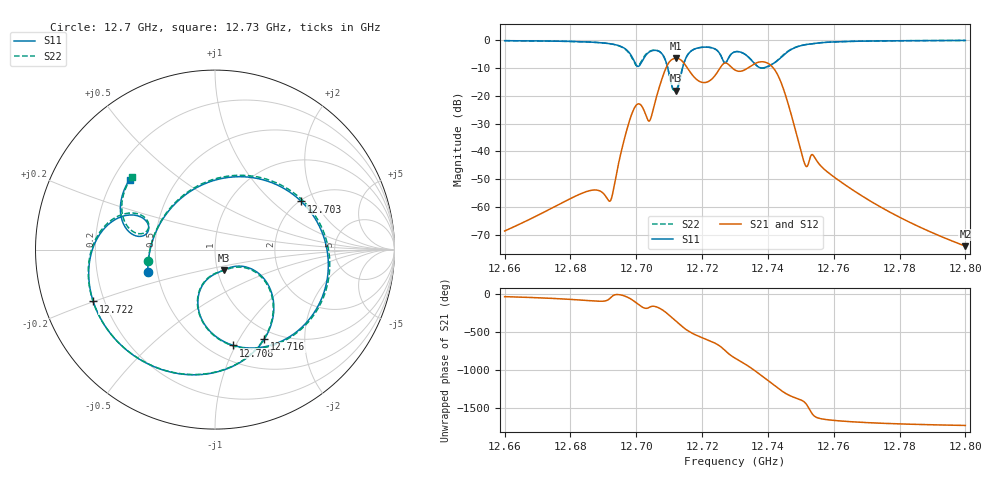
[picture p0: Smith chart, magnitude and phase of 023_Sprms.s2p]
! TOUCHSTONE file generated by CST MICROWAVE STUDIO
! Date and time: Wed Jul 31 11:46:25 2024
! Project name: WaveGuide_BPF-Ver4.1_U-shape_Ku_T3_C4_CWA_2.cst
! Parameters = {cavity_h=16; cavity_l0=10; cavity_l1=15.2314; cavity_l2=16.8542; cavity_l3=17.1429; cavity_l4=17.2755; cavity_l5=17.1653; cavity_l6=17.5788; cavity_r=2.5; cavity_screw_l=0.5; cavity_screw_r=1.5; cavity_w=8; iris_h00=0; iris_h01=8.8212; iris_h112=0; iris_h12=5.5989; iris_h211=3.6639; 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
! Header version: 2018
! Port assignment regex: !\s*Touchstone port\s*([0-9]+)\s*=\s*(CST MWS port|CST DS port)\s*([0-9]+|Zmin|Zmax)\s*\(\"(.*)\"\)(\s*mode\s*([0-9]+))?.*
! Touchstone port assignment:
! Touchstone port 1 = CST MWS port 1 ("")
! Touchstone port 2 = CST MWS port 2 ("")
# GHz S RI R 50
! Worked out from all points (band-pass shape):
!   5001 points, 12.66 GHz to 12.8 GHz, reference 50 ohm
!   highest |S21| = -6.54 dB at 12.712 GHz (marker M1); lowest = -74.0 dB at 12.8 GHz (marker M2)
!   |S21| within 3 dB of the highest: 12.70922 GHz to 12.71526 GHz (6.041 MHz wide, 0.0475 % of centre); 12.73453 GHz to 12.74129 GHz (6.767 MHz wide, 0.0531 % of centre) (the widest 2 of 3)
!   lowest |S11| = -18.2 dB at 12.712 GHz (marker M3), VSWR 1.28, Z = 53.9 - j12.4 ohm
!   |S11| at or under -10 dB: 12.70958 GHz to 12.71407 GHz (4.49 MHz wide, 0.0353 % of centre); 12.73785 GHz to 12.73858 GHz (733.2 kHz wide, 0.00576 % of centre)
!   |S22| runs from -18.1 to -0.1 dB; largest |S21 - S12| = 1e-09
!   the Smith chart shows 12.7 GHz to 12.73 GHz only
!   S11 on the Smith chart (normalised r, x): 12.7 GHz: 0.44, -0.13; 12.703 GHz: 2.04, +1.57; 12.708 GHz: 0.65, -0.98; 12.716 GHz: 0.87, -1.29; 12.722 GHz: 0.16, -0.20; 12.73 GHz: 0.27, +0.33
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12.66  0.4596 0.8603  0.000315 -0.0002  0.000315 -0.0002  0.4615 0.8593
12.68335  0.8953 0.2637  0.000369 -0.00173  0.000369 -0.00173  0.8957 0.2621
12.69217  0.7662 -0.3858  0.000877 -0.000975  0.000877 -0.000975  0.7603 -0.3921
12.69676  0.1382 -0.6748  0.0178 -0.00993  0.0178 -0.00993  0.1072 -0.6672
12.69959  -0.3741 -0.1257  -0.0111 -0.0618  -0.0111 -0.0618  -0.3722 -0.064
12.70309  0.4809 0.2681  -0.0417 0.00497  -0.0417 0.00497  0.5123 0.2489
12.70668  0.4053 -0.4919  -0.123 -0.0063  -0.123 -0.0063  0.4002 -0.5002
12.70805  0.1025 -0.5337  -0.1921 0.1118  -0.1921 0.1118  0.0958 -0.5347
12.71197  0.0506 -0.1129  0.467 0.0599  0.467 0.0599  0.0604 -0.1119
12.71211  0.0593 -0.109  0.4708 0.0172  0.4708 0.0172  0.0692 -0.109
12.71589  0.274 -0.5001  -0.1759 -0.2351  -0.1759 -0.2351  0.2662 -0.5073
12.72241  -0.6784 -0.289  -0.0485 0.1815  -0.0485 0.1815  -0.6836 -0.2757
12.72664  -0.3743 0.1444  0.3778 -0.0557  0.3778 -0.0557  -0.3737 0.1551
12.73  -0.4761 0.3897  -0.1538 -0.2452  -0.1538 -0.2452  -0.4616 0.4071
12.73535  0.3926 0.1306  -0.0242 0.3578  -0.0242 0.3578  0.3984 0.1171
12.73832  -0.00078 -0.315  0.4079 -0.00736  0.4079 -0.00736  -0.0138 -0.3116
12.74131  -0.342 0.1403  -0.0608 -0.327  -0.0608 -0.327  -0.3259 0.1693
12.74621  0.6217 -0.0974  -0.0282 0.0637  -0.0282 0.0637  0.6268 -0.1217
12.75117  0.0684 -0.8189  0.00578 0.0017  0.00578 0.0017  0.063 -0.8217
12.75335  -0.1984 -0.8324  -0.00544 -0.00691  -0.00544 -0.00691  -0.2019 -0.8329
12.77668  -0.9686 -0.0371  -9.67e-05 0.000832  -9.67e-05 0.000832  -0.9686 -0.0339
12.8  -0.9141 0.3648  6.44e-05 0.000189  6.44e-05 0.000189  -0.9124 0.3689
